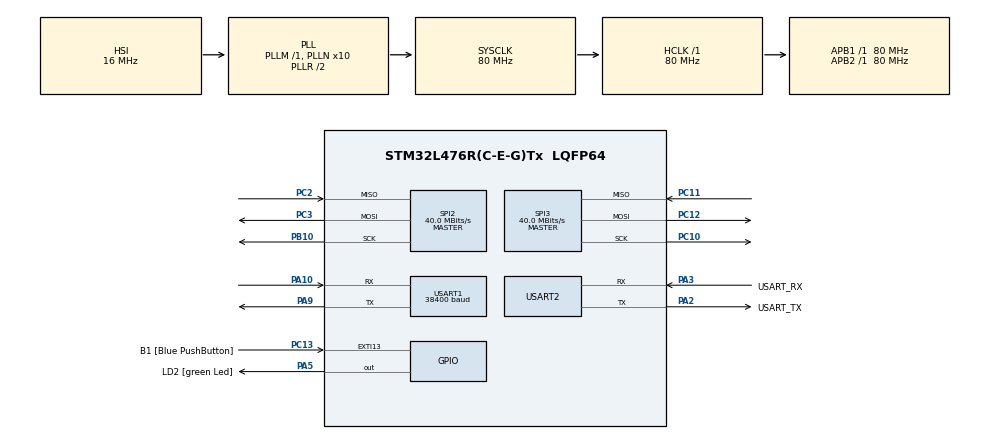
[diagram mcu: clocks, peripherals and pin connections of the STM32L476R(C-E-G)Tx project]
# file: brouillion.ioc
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FREERTOS.Tasks01=defaultTask,0,512,StartDefaultTask,Default,NULL,Static,defaultTaskBuffer,defaultTaskControlBlock
Mcu.Family=STM32L4
Mcu.Name=STM32L476R(C-E-G)Tx
Mcu.Package=LQFP64
NVIC.EXTI15_10_IRQn=true\:5\:0\:false\:false\:true\:true\:true\:true\:true
NVIC.PriorityGroup=NVIC_PRIORITYGROUP_4
PA10.Mode=Asynchronous
PA10.Signal=USART1_RX
PA13\ (JTMS-SWDIO).GPIO_Label=TMS
PA13\ (JTMS-SWDIO).Mode=Serial_Wire
PA13\ (JTMS-SWDIO).Signal=SYS_JTMS-SWDIO
PA14\ (JTCK-SWCLK).GPIO_Label=TCK
PA14\ (JTCK-SWCLK).Mode=Serial_Wire
PA14\ (JTCK-SWCLK).Signal=SYS_JTCK-SWCLK
PA2.GPIO_Label=USART_TX
PA2.GPIO_Mode=GPIO_MODE_AF_PP
PA2.GPIO_PuPd=GPIO_NOPULL
PA2.GPIO_Speed=GPIO_SPEED_FREQ_VERY_HIGH
PA2.Mode=Asynchronous
PA2.Signal=USART2_TX
PA3.GPIO_Label=USART_RX
PA3.GPIO_Mode=GPIO_MODE_AF_PP
PA3.GPIO_PuPd=GPIO_NOPULL
PA3.GPIO_Speed=GPIO_SPEED_FREQ_VERY_HIGH
PA3.Mode=Asynchronous
PA3.Signal=USART2_RX
PA5.GPIO_Label=LD2 [green Led]
PA5.GPIO_ModeDefaultOutputPP=GPIO_MODE_OUTPUT_PP
PA5.GPIO_PuPd=GPIO_NOPULL
PA5.GPIO_Speed=GPIO_SPEED_FREQ_LOW
PA5.Signal=GPIO_Output
PA9.Mode=Asynchronous
PA9.Signal=USART1_TX
PB10.Mode=Full_Duplex_Master
PB10.Signal=SPI2_SCK
PB3\ (JTDO-TRACESWO).GPIO_Label=SWO
PB3\ (JTDO-TRACESWO).Signal=SYS_JTDO-SWO
PC10.Mode=Full_Duplex_Master
PC10.Signal=SPI3_SCK
PC11.Mode=Full_Duplex_Master
PC11.Signal=SPI3_MISO
PC12.Mode=Full_Duplex_Master
PC12.Signal=SPI3_MOSI
PC13.GPIO_Label=B1 [Blue PushButton]
PC13.GPIO_ModeDefaultEXTI=GPIO_MODE_IT_FALLING
PC13.GPIO_PuPd=GPIO_NOPULL
PC13.Signal=GPXTI13
PC14-OSC32_IN\ (PC14).Mode=LSE-External-Oscillator
PC14-OSC32_IN\ (PC14).Signal=RCC_OSC32_IN
PC15-OSC32_OUT\ (PC15).Mode=LSE-External-Oscillator
PC15-OSC32_OUT\ (PC15).Signal=RCC_OSC32_OUT
PC2.Mode=Full_Duplex_Master
PC2.Signal=SPI2_MISO
PC3.Mode=Full_Duplex_Master
PC3.Signal=SPI2_MOSI
PH0-OSC_IN\ (PH0).Signal=RCC_OSC_IN
PH1-OSC_OUT\ (PH1).Signal=RCC_OSC_OUT
ProjectManager.HeapSize=0x200
ProjectManager.StackSize=0x400
ProjectManager.TargetToolchain=STM32CubeIDE
RCC.ADCFreq_Value=64000000
RCC.AHBFreq_Value=80000000
RCC.APB1Freq_Value=80000000
RCC.APB1TimFreq_Value=80000000
RCC.APB2Freq_Value=80000000
RCC.APB2TimFreq_Value=80000000
RCC.CortexFreq_Value=80000000
RCC.HCLKFreq_Value=80000000
RCC.HSE_VALUE=8000000
RCC.HSI_VALUE=16000000
RCC.MSI_VALUE=4000000
RCC.PLLN=10
RCC.PLLSourceVirtual=RCC_PLLSOURCE_HSI
RCC.PREFETCH_ENABLE=1
RCC.SYSCLKFreq_VALUE=80000000
RCC.SYSCLKSource=RCC_SYSCLKSOURCE_PLLCLK
RCC.USBFreq_Value=64000000
RCC.VCOOutputFreq_Value=160000000
SPI2.CalculateBaudRate=40.0 MBits/s
SPI2.Direction=SPI_DIRECTION_2LINES
SPI2.Mode=SPI_MODE_MASTER
SPI2.VirtualType=VM_MASTER
SPI3.CalculateBaudRate=40.0 MBits/s
SPI3.Direction=SPI_DIRECTION_2LINES
SPI3.Mode=SPI_MODE_MASTER
SPI3.VirtualType=VM_MASTER
USART1.BaudRate=38400
USART1.VirtualMode-Asynchronous=VM_ASYNC
USART2.VirtualMode-Asynchronous=VM_ASYNC
VP_FREERTOS_VS_CMSIS_V1.Mode=CMSIS_V1
board=NUCLEO-L476RG

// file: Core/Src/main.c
/* USER CODE BEGIN Header */
/**
  ******************************************************************************
  * @file           : main.c
  * @brief          : Main program body
  ******************************************************************************
  * @attention
  *
  * Copyright (c) 2024 STMicroelectronics.
  * All rights reserved.
  *
  * This software is licensed under terms that can be found in the LICENSE file
  * in the root directory of this software component.
  * If no LICENSE file comes with this software, it is provided AS-IS.
  *
  ******************************************************************************
  */
/* USER CODE END Header */
#include "main.h"
#include "cmsis_os.h"

/* USER CODE BEGIN Includes */
SemaphoreHandle_t xSemaphore;
BaseType_t xHigherPriorityTaskWoken = pdFALSE;
#include <string.h>
#include <stdio.h>
/* USER CODE END Includes */

SPI_HandleTypeDef hspi2;
SPI_HandleTypeDef hspi3;

UART_HandleTypeDef huart1;
UART_HandleTypeDef huart2;

osThreadId defaultTaskHandle;
uint32_t defaultTaskBuffer[ 512 ];
osStaticThreadDef_t defaultTaskControlBlock;

void SystemClock_Config(void);
static void MX_GPIO_Init(void);
static void MX_USART2_UART_Init(void);
static void MX_SPI2_Init(void);
static void MX_SPI3_Init(void);
static void MX_USART1_UART_Init(void);
void StartDefaultTask(void const * argument);

int main(void)
{

  /* MCU Configuration--------------------------------------------------------*/

  /* Reset of all peripherals, Initializes the Flash interface and the Systick. */
  HAL_Init();

  /* Configure the system clock */
  SystemClock_Config();

  /* Initialize all configured peripherals */
  MX_GPIO_Init();
  MX_USART2_UART_Init();
  MX_SPI2_Init();
  MX_SPI3_Init();
  MX_USART1_UART_Init();

  /* Create the thread(s) */
  /* definition and creation of defaultTask */
  osThreadStaticDef(defaultTask, StartDefaultTask, osPriorityNormal, 0, 512, defaultTaskBuffer, &defaultTaskControlBlock);
  defaultTaskHandle = osThreadCreate(osThread(defaultTask), NULL);

  /* USER CODE BEGIN RTOS_THREADS */
  /* add threads, ... */
  xSemaphore = xSemaphoreCreateBinary();
  /* USER CODE END RTOS_THREADS */

  /* Start scheduler */
  osKernelStart();

  /* We should never get here as control is now taken by the scheduler */

  /* Infinite loop */
  while (1)
  {

  }
}

void SystemClock_Config(void)
{
  RCC_OscInitTypeDef RCC_OscInitStruct = {0};
  RCC_ClkInitTypeDef RCC_ClkInitStruct = {0};

  /** Configure the main internal regulator output voltage
  */
  if (HAL_PWREx_ControlVoltageScaling(PWR_REGULATOR_VOLTAGE_SCALE1) != HAL_OK)
  {
    Error_Handler();
  }

  /** Initializes the RCC Oscillators according to the specified parameters
  * in the RCC_OscInitTypeDef structure.
  */
  RCC_OscInitStruct.OscillatorType = RCC_OSCILLATORTYPE_HSI;
  RCC_OscInitStruct.HSIState = RCC_HSI_ON;
  RCC_OscInitStruct.HSICalibrationValue = RCC_HSICALIBRATION_DEFAULT;
  RCC_OscInitStruct.PLL.PLLState = RCC_PLL_ON;
  RCC_OscInitStruct.PLL.PLLSource = RCC_PLLSOURCE_HSI;
  RCC_OscInitStruct.PLL.PLLM = 1;
  RCC_OscInitStruct.PLL.PLLN = 10;
  RCC_OscInitStruct.PLL.PLLP = RCC_PLLP_DIV7;
  RCC_OscInitStruct.PLL.PLLQ = RCC_PLLQ_DIV2;
  RCC_OscInitStruct.PLL.PLLR = RCC_PLLR_DIV2;
  if (HAL_RCC_OscConfig(&RCC_OscInitStruct) != HAL_OK)
  {
    Error_Handler();
  }

  /** Initializes the CPU, AHB and APB buses clocks
  */
  RCC_ClkInitStruct.ClockType = RCC_CLOCKTYPE_HCLK|RCC_CLOCKTYPE_SYSCLK
                              |RCC_CLOCKTYPE_PCLK1|RCC_CLOCKTYPE_PCLK2;
  RCC_ClkInitStruct.SYSCLKSource = RCC_SYSCLKSOURCE_PLLCLK;
  RCC_ClkInitStruct.AHBCLKDivider = RCC_SYSCLK_DIV1;
  RCC_ClkInitStruct.APB1CLKDivider = RCC_HCLK_DIV1;
  RCC_ClkInitStruct.APB2CLKDivider = RCC_HCLK_DIV1;

  if (HAL_RCC_ClockConfig(&RCC_ClkInitStruct, FLASH_LATENCY_4) != HAL_OK)
  {
    Error_Handler();
  }
}

static void MX_SPI2_Init(void)
{

  /* SPI2 parameter configuration*/
  hspi2.Instance = SPI2;
  hspi2.Init.Mode = SPI_MODE_MASTER;
  hspi2.Init.Direction = SPI_DIRECTION_2LINES;
  hspi2.Init.DataSize = SPI_DATASIZE_4BIT;
  hspi2.Init.CLKPolarity = SPI_POLARITY_LOW;
  hspi2.Init.CLKPhase = SPI_PHASE_1EDGE;
  hspi2.Init.NSS = SPI_NSS_SOFT;
  hspi2.Init.BaudRatePrescaler = SPI_BAUDRATEPRESCALER_2;
  hspi2.Init.FirstBit = SPI_FIRSTBIT_MSB;
  hspi2.Init.TIMode = SPI_TIMODE_DISABLE;
  hspi2.Init.CRCCalculation = SPI_CRCCALCULATION_DISABLE;
  hspi2.Init.CRCPolynomial = 7;
  hspi2.Init.CRCLength = SPI_CRC_LENGTH_DATASIZE;
  hspi2.Init.NSSPMode = SPI_NSS_PULSE_ENABLE;
  if (HAL_SPI_Init(&hspi2) != HAL_OK)
  {
    Error_Handler();
  }

}

static void MX_SPI3_Init(void)
{

  /* SPI3 parameter configuration*/
  hspi3.Instance = SPI3;
  hspi3.Init.Mode = SPI_MODE_MASTER;
  hspi3.Init.Direction = SPI_DIRECTION_2LINES;
  hspi3.Init.DataSize = SPI_DATASIZE_4BIT;
  hspi3.Init.CLKPolarity = SPI_POLARITY_LOW;
  hspi3.Init.CLKPhase = SPI_PHASE_1EDGE;
  hspi3.Init.NSS = SPI_NSS_SOFT;
  hspi3.Init.BaudRatePrescaler = SPI_BAUDRATEPRESCALER_2;
  hspi3.Init.FirstBit = SPI_FIRSTBIT_MSB;
  hspi3.Init.TIMode = SPI_TIMODE_DISABLE;
  hspi3.Init.CRCCalculation = SPI_CRCCALCULATION_DISABLE;
  hspi3.Init.CRCPolynomial = 7;
  hspi3.Init.CRCLength = SPI_CRC_LENGTH_DATASIZE;
  hspi3.Init.NSSPMode = SPI_NSS_PULSE_ENABLE;
  if (HAL_SPI_Init(&hspi3) != HAL_OK)
  {
    Error_Handler();
  }

}

static void MX_USART1_UART_Init(void)
{

  huart1.Instance = USART1;
  huart1.Init.BaudRate = 38400;
  huart1.Init.WordLength = UART_WORDLENGTH_8B;
  huart1.Init.StopBits = UART_STOPBITS_1;
  huart1.Init.Parity = UART_PARITY_NONE;
  huart1.Init.Mode = UART_MODE_TX_RX;
  huart1.Init.HwFlowCtl = UART_HWCONTROL_NONE;
  huart1.Init.OverSampling = UART_OVERSAMPLING_16;
  huart1.Init.OneBitSampling = UART_ONE_BIT_SAMPLE_DISABLE;
  huart1.AdvancedInit.AdvFeatureInit = UART_ADVFEATURE_NO_INIT;
  if (HAL_UART_Init(&huart1) != HAL_OK)
  {
    Error_Handler();
  }

}

static void MX_USART2_UART_Init(void)
{

  huart2.Instance = USART2;
  huart2.Init.BaudRate = 115200;
  huart2.Init.WordLength = UART_WORDLENGTH_8B;
  huart2.Init.StopBits = UART_STOPBITS_1;
  huart2.Init.Parity = UART_PARITY_NONE;
  huart2.Init.Mode = UART_MODE_TX_RX;
  huart2.Init.HwFlowCtl = UART_HWCONTROL_NONE;
  huart2.Init.OverSampling = UART_OVERSAMPLING_16;
  huart2.Init.OneBitSampling = UART_ONE_BIT_SAMPLE_DISABLE;
  huart2.AdvancedInit.AdvFeatureInit = UART_ADVFEATURE_NO_INIT;
  if (HAL_UART_Init(&huart2) != HAL_OK)
  {
    Error_Handler();
  }

}

static void MX_GPIO_Init(void)
{
  GPIO_InitTypeDef GPIO_InitStruct = {0};

  /* GPIO Ports Clock Enable */
  __HAL_RCC_GPIOC_CLK_ENABLE();
  __HAL_RCC_GPIOH_CLK_ENABLE();
  __HAL_RCC_GPIOA_CLK_ENABLE();
  __HAL_RCC_GPIOB_CLK_ENABLE();

  /*Configure GPIO pin Output Level */
  HAL_GPIO_WritePin(LD2_GPIO_Port, LD2_Pin, GPIO_PIN_RESET);

  /*Configure GPIO pin : B1_Pin */
  GPIO_InitStruct.Pin = B1_Pin;
  GPIO_InitStruct.Mode = GPIO_MODE_IT_FALLING;
  GPIO_InitStruct.Pull = GPIO_NOPULL;
  HAL_GPIO_Init(B1_GPIO_Port, &GPIO_InitStruct);

  /*Configure GPIO pin : LD2_Pin */
  GPIO_InitStruct.Pin = LD2_Pin;
  GPIO_InitStruct.Mode = GPIO_MODE_OUTPUT_PP;
  GPIO_InitStruct.Pull = GPIO_NOPULL;
  GPIO_InitStruct.Speed = GPIO_SPEED_FREQ_LOW;
  HAL_GPIO_Init(LD2_GPIO_Port, &GPIO_InitStruct);

  /* EXTI interrupt init*/
  HAL_NVIC_SetPriority(EXTI15_10_IRQn, 5, 0);
  HAL_NVIC_EnableIRQ(EXTI15_10_IRQn);

}

/* USER CODE BEGIN 4 */

void HAL_GPIO_EXTI_Callback(uint16_t GPIO_Pin)
{
	xSemaphoreGiveFromISR( xSemaphore, &xHigherPriorityTaskWoken );
}

/* USER CODE END 4 */

void StartDefaultTask(void const * argument)
{
  /* USER CODE BEGIN 5 */
  /* Infinite loop */

	uint8_t F9pRawData[3] = {0};

	char uartMsg[32];
	const char* msg = "rtcm recu\r\n";
	// create a structur for Rtcm msg
	typedef struct rtcmMsg_t
	{
		uint16_t wRtcmLen;
		uint8_t pcRtcmData[1024];
		uint8_t *pcRtcmCrc;
	}rtcmMsg_t;

	rtcmMsg_t RtcmMsg={0, {0}, 0};
#define RTCM_MSG_TAB 3
	rtcmMsg_t LocalRtcmMsgTab[RTCM_MSG_TAB]={0}; // up to 16 Rtcm msg should be acquired  by one time
	uint16_t msgType = 0;
	uint8_t RtcmMsgCount = 0;

  for(;;)
  {

	 static int counter = 0;
/*
	 if (!HAL_UART_Receive(&huart1, F9pRawData, 3, 2000))
	 {
		 // verify if it was really RTCM
		 if (F9pRawData[0] == 0xD3)
		 {
			 RtcmMsgCount = (RtcmMsgCount > RTCM_MSG_TAB) ? 0 : RtcmMsgCount ++;
	  		 counter++;
	  		 LocalRtcmMsgTab[RtcmMsgCount].wRtcmLen = ((F9pRawData[1] & 0x03) << 8) | F9pRawData[2];

	  			// get reste of msg (data +CRC)
	  		 HAL_UART_Receive(&huart1, LocalRtcmMsgTab[RtcmMsgCount].pcRtcmData, LocalRtcmMsgTab[RtcmMsgCount].wRtcmLen +3, 2000);

		 }
	  	}
	  	else { // display on console

	  		if (RtcmMsgCount>=0 && RtcmMsgCount<= RTCM_MSG_TAB)
	  		{
	  			if( counter >= 1)
	  			{

	  				// print message
	  				msgType = ((LocalRtcmMsgTab[RtcmMsgCount].pcRtcmData[0] << 4) | (LocalRtcmMsgTab[RtcmMsgCount].pcRtcmData[1] >> 4)) & 0x0FFF;
	  				snprintf(uartMsg, sizeof(uartMsg), "RTCM recu: %d ; Len = %d\r\n", msgType, LocalRtcmMsgTab[RtcmMsgCount].wRtcmLen );
	  				HAL_UART_Transmit(&huart2, (uint8_t*)uartMsg, strlen(uartMsg), 1000);

	  				// send to tcp client

	  				RtcmMsgCount = (RtcmMsgCount > RTCM_MSG_TAB) ? 0 : RtcmMsgCount --;
	  				counter --;

	  			}
	  		}
	  	}
	   osDelay(1);
  }
  /*
  // uart msg pending

  if (!HAL_UART_Receive(&huart1, F9pRawData, 3, 1500))
  {
	  // verify if it was really RTCM
	  if (F9pRawData[0] == 0xD3)
	  {
		  //HAL_UART_Receive(&huart1, debugTab, 30, 1500);
		  RtcmMsg.wRtcmLen = ((F9pRawData[1] & 0x03) << 8) | F9pRawData[2];

		  // get reste of msg (data +CRC)
		  HAL_UART_Receive(&huart1, RtcmMsg.pcRtcmData, RtcmMsg.wRtcmLen +3, 1500);

		  // get Crc (and verify??)
		  //memcpy( RtcmMsg.pcRtcmCrc, RtcmMsg.pcRtcmData[RtcmMsg.wRtcmLen -3], 3);

		  uint16_t msgType = ((RtcmMsg.pcRtcmData[0] << 4) | (RtcmMsg.pcRtcmData[1] >> 4)) & 0x0FFF;

		  // print message
		  snprintf(uartMsg, sizeof(uartMsg), "RTCM recu: %d\r\n", msgType);
		  HAL_UART_Transmit(&huart2, (uint8_t*)uartMsg, strlen(uartMsg), 1000);
		  //vTaskDelay(500);
	  }

	  else{
		  // while(1); //error → get out
	  	}
  }
*/
osDelay(1);
}
  /* USER CODE END 5 */
}

void Error_Handler(void)
{
  __disable_irq();
  while (1)
  {
  }
}
